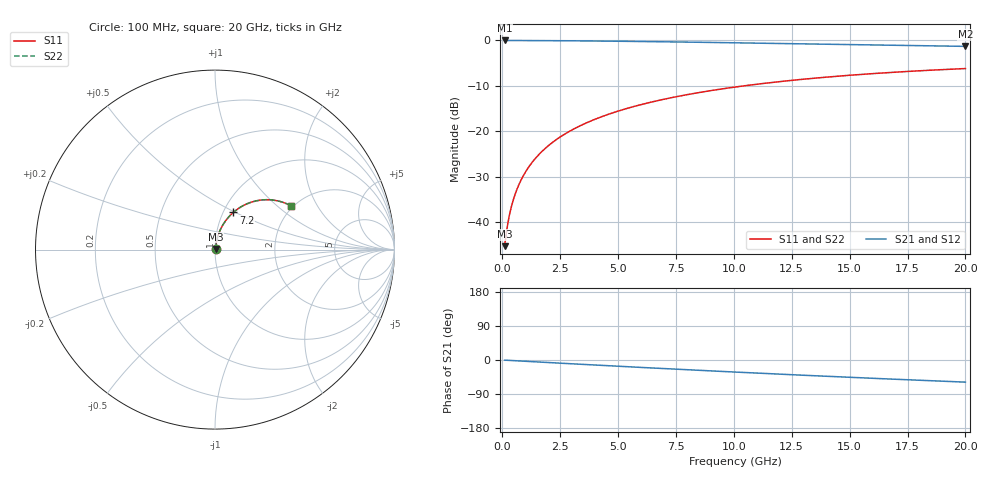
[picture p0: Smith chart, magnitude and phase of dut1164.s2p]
! Touchstone file exported from HFSS 2026.1.0
!  File:  C:/ffzhzh/LocalFiles/Ansys_Project_Files/temp_train_BSMRDL_1164_1783175869_51560.aedt
!  Generated:  10:39:08 PM Jul  4, 2026
!  Design:  BSMRDL
!  Project:  temp_train_BSMRDL_1164_1783175869_51560
! Variables:
!  h_bsmrdl = 5.47um
!  h_ox = 20um
!  h_rdl = 5um
!  h_sub = 80um
!  h_tmrdl = 5um
!  h_tsv = 80um
!  h_via = 3um
!  l_bsmrdl = 931.29um
!  l_sub = 1331.29um
!  l_tmrdl = 200um
!  m_sub = 200um
!  pitch = 41.6um
!  r_tsv = 6um
!  s_tmrdl = 10um
!  w_bsmrdl = 15.69um
!  w_sub = 500um
!  w_tmrdl = 12um
!  x_tsv_center1 = 206um
!  x_tsv_center2 = 1152.98um
!  x_tsv_center3 = 1364.98um
!  x_tsv_center4 = 2311.96um
!  x_tsv_center5 = 2523.96um
!  x_tsv_center6 = 3470.94um
# GHz S MA R 50.000000
! Terminal data exported
! Port[1] = BSM_RDL1_1_T1
! Port[2] = BSM_RDL1_1_T2
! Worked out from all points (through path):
!   200 points, 100 MHz to 20 GHz, reference 50 ohm
!   highest |S21| = -0.03 dB at 100 MHz (marker M1); lowest = -1.3 dB at 20 GHz (marker M2)
!   group delay of S21, straight-line fit = 8.1 ps
!   lowest |S11| = -45.3 dB at 100 MHz (marker M3), VSWR 1.01, Z = 50.4 + j0.374 ohm
!   |S11| at or under -10 dB: start of sweep to 10.48 GHz
!   |S22| runs from -45.3 to -6.2 dB; largest |S21 - S12| = 1.3e-14
!   S11 on the Smith chart (normalised r, x): 100 MHz: 1.01, +0.01; 7.2 GHz: 1.11, +0.49; 20 GHz: 1.94, +1.24
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0.1  0.005413 43.2  0.9961 -0.4  0.9961 -0.4  0.005413 43.2
! Gamma 0 0 0 0
! Port Impedance 50 0 50 0
0.2  0.008418 60.2  0.9959 -0.7  0.9959 -0.7  0.008418 60.2
0.3  0.01169 67.6  0.9957 -1.0  0.9957 -1.0  0.01169 67.6
0.4  0.01502 71.6  0.9955 -1.4  0.9955 -1.4  0.01502 71.6
0.5  0.01839 74.1  0.9953 -1.7  0.9953 -1.7  0.01839 74.1
0.6  0.02177 75.8  0.9952 -2.0  0.9952 -2.0  0.02177 75.8
0.8  0.02858 77.7  0.9949 -2.7  0.9949 -2.7  0.02858 77.7
1.1  0.03884 78.9  0.9943 -3.7  0.9943 -3.7  0.03884 78.9
1.5  0.05252 79.1  0.9933 -5.1  0.9933 -5.1  0.05252 79.1
1.8  0.06273 78.8  0.9924 -6.1  0.9924 -6.1  0.06272 78.8
2.1  0.07286 78.2  0.9914 -7.1  0.9914 -7.1  0.07286 78.2
2.7  0.09289 76.8  0.989 -9.0  0.989 -9.0  0.09289 76.8
3.5  0.119 74.6  0.9852 -11.7  0.9852 -11.7  0.119 74.6
4.2  0.1413 72.6  0.9814 -13.9  0.9814 -13.9  0.1413 72.6
5  0.1661 70.3  0.9766 -16.5  0.9766 -16.5  0.1661 70.3
6.8  0.2193 65.0  0.9644 -22.1  0.9644 -22.1  0.2193 65.0
7.2  0.2306 63.8  0.9615 -23.3  0.9615 -23.3  0.2306 63.8
8.6  0.2687 59.8  0.9507 -27.5  0.9507 -27.5  0.2687 59.8
10.1  0.307 55.5  0.9384 -32.0  0.9384 -32.0  0.307 55.6
13.4  0.3811 46.5  0.9101 -41.3  0.9101 -41.3  0.3811 46.6
16.7  0.4415 38.0  0.8824 -50.1  0.8824 -50.1  0.4414 38.0
20  0.4886 29.9  0.8574 -58.4  0.8574 -58.4  0.4886 30.0
